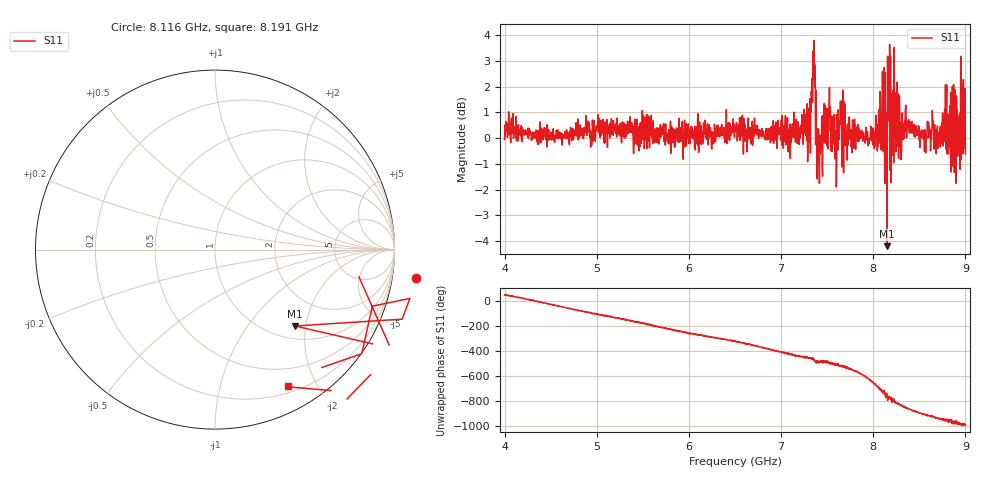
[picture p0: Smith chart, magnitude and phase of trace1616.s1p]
! Created with skrf 1.8.0 (http://scikit-rf.org).
# Hz S RI R 50.0
!freq ReS11 ImS11
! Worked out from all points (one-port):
!   1601 points, 4 GHz to 9 GHz, reference 50 ohm
!   lowest |S11| = -4.2 dB at 8.15 GHz (marker M1), VSWR 4.22, Z = 63.5 - j87.4 ohm
!   |S11| at or under -10 dB: nowhere
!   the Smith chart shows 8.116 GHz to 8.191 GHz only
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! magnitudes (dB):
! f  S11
! 4 GHz  -0.1
! 4.625 GHz  -0.3
! 5.25 GHz  0.1
! 5.875 GHz  -0.1
! 6.5 GHz  0.4
! 7.125 GHz  0.3
! 7.294 GHz  1.1
! 7.347 GHz  3.4
! 7.362 GHz  2.6
! 7.397 GHz  -1.0
! 7.409 GHz  -0.4
! 7.512 GHz  1.0
! 7.578 GHz  0.9
! 7.669 GHz  1.0
! 7.703 GHz  0.3
! 7.75 GHz  0.0
! 8.034 GHz  0.6
! 8.097 GHz  0.2
! 8.128 GHz  0.9
! 8.15 GHz  -4.2
! 8.178 GHz  3.6
! 8.206 GHz  -0.4
! 8.375 GHz  0.5
! 8.694 GHz  0.3
! 8.775 GHz  1.1
! 8.919 GHz  -0.5
! 8.972 GHz  0.2
! 9 GHz  -0.6
